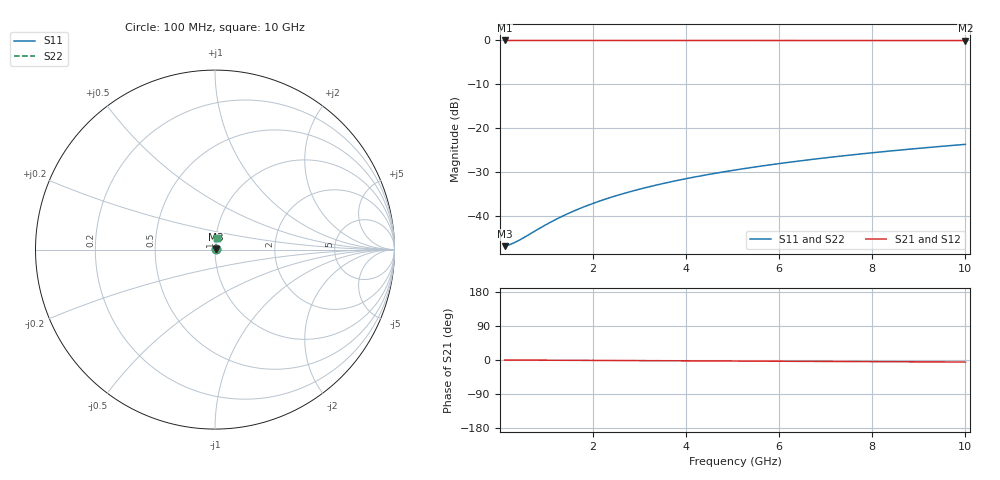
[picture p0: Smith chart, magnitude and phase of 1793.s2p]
# Hz S RI R 50.00
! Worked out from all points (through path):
!   100 points, 100 MHz to 10 GHz, reference 50 ohm
!   highest |S21| = -0.04 dB at 100 MHz (marker M1); lowest = -0.1 dB at 10 GHz (marker M2)
!   lowest |S11| = -46.9 dB at 100 MHz (marker M3), VSWR 1.01, Z = 50.4 + j0.0652 ohm
!   |S11| at or under -10 dB: start of sweep to end of sweep
!   |S22| runs from -46.9 to -23.7 dB; largest |S21 - S12| = 0
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1e8  0.00445 0.000647  0.9955 -0.000939  0.9955 -0.000939  0.00445 0.000647
2e8  0.00448 0.00129  0.9955 -0.00188  0.9955 -0.00188  0.00448 0.00129
3e8  0.00451 0.00194  0.9955 -0.00282  0.9955 -0.00282  0.00451 0.00194
4e8  0.00453 0.00259  0.9955 -0.00376  0.9955 -0.00376  0.00453 0.00259
1e9  0.00465 0.00646  0.9953 -0.00939  0.9953 -0.00939  0.00465 0.00646
1.3e9  0.00471 0.0084  0.9953 -0.0122  0.9953 -0.0122  0.00471 0.0084
1.5e9  0.00476 0.00969  0.9952 -0.0141  0.9952 -0.0141  0.00476 0.00969
1.8e9  0.00484 0.0116  0.9951 -0.0169  0.9951 -0.0169  0.00484 0.0116
2.1e9  0.00493 0.0136  0.995 -0.0197  0.995 -0.0197  0.00493 0.0136
2.5e9  0.00506 0.0162  0.9949 -0.0235  0.9949 -0.0235  0.00506 0.0162
2.9e9  0.00521 0.0187  0.9947 -0.0272  0.9947 -0.0272  0.00521 0.0187
3.4e9  0.00543 0.022  0.9945 -0.0319  0.9945 -0.0319  0.00543 0.022
3.8e9  0.00562 0.0245  0.9943 -0.0357  0.9943 -0.0357  0.00562 0.0245
4.2e9  0.00583 0.0271  0.9941 -0.0394  0.9941 -0.0394  0.00583 0.0271
4.6e9  0.00606 0.0297  0.9938 -0.0431  0.9938 -0.0431  0.00606 0.0297
5.1e9  0.00637 0.0329  0.9935 -0.0478  0.9935 -0.0478  0.00637 0.0329
5.9e9  0.00694 0.038  0.9929 -0.0553  0.9929 -0.0553  0.00694 0.038
6.7e9  0.00757 0.0432  0.9922 -0.0628  0.9922 -0.0628  0.00757 0.0432
7.5e9  0.00829 0.0483  0.9914 -0.0702  0.9914 -0.0702  0.00829 0.0483
8.4e9  0.00919 0.054  0.9905 -0.0786  0.9905 -0.0786  0.00919 0.054
9.2e9  0.0101 0.0591  0.9895 -0.086  0.9895 -0.086  0.0101 0.0591
1e10  0.011 0.0642  0.9885 -0.0935  0.9885 -0.0935  0.011 0.0642
